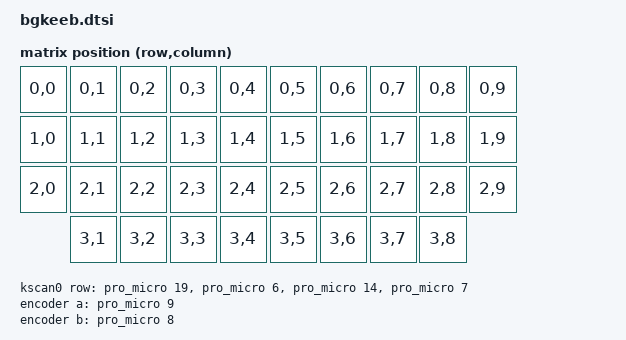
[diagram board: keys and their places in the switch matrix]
#include <dt-bindings/zmk/matrix_transform.h>


/ {
    chosen {
        zmk,kscan = &kscan0;
        zmk,matrix_transform = &default_transform;
    };

    default_transform: keymap_transform_0 {
        compatible = "zmk,matrix-transform";
        columns = <10>;
        rows = <8>;

        map = <
            RC(0,0)     RC(0,1)     RC(0,2)     RC(0,3)     RC(0,4)         RC(0,5)     RC(0,6)     RC(0,7)     RC(0,8)     RC(0,9)
            RC(1,0)     RC(1,1)     RC(1,2)     RC(1,3)     RC(1,4)         RC(1,5)     RC(1,6)     RC(1,7)     RC(1,8)     RC(1,9)
            RC(2,0)     RC(2,1)     RC(2,2)     RC(2,3)     RC(2,4)         RC(2,5)     RC(2,6)     RC(2,7)     RC(2,8)     RC(2,9)
                        RC(3,1)     RC(3,2)     RC(3,3)     RC(3,4)         RC(3,5)     RC(3,6)     RC(3,7)     RC(3,8)     
        >;
    };

    kscan0: kscan {
        compatible = "zmk,kscan-gpio-matrix";
        label = "KSCAN";

        diode-direction = "col2row";
        // #define MATRIX_ROW_PINS { F6, D7, B3, E6 }     == { 19, 6, 14, 7 }
        // #define MATRIX_COL_PINS { F4, D4, F5, B1, B2 } == { 21, 4, 20, 15, 16 }
        row-gpios
            = <&pro_micro 19 (GPIO_ACTIVE_HIGH | GPIO_PULL_DOWN)> 
            , <&pro_micro 6  (GPIO_ACTIVE_HIGH | GPIO_PULL_DOWN)> 
            , <&pro_micro 14 (GPIO_ACTIVE_HIGH | GPIO_PULL_DOWN)> 
            , <&pro_micro 7  (GPIO_ACTIVE_HIGH | GPIO_PULL_DOWN)> 
            ;
    };

    // #define ENCODERS_PAD_A {B5} {9} {A9}
    // #define ENCODERS_PAD_B {B4} {8} {A8}

    // #define ENCODER_RESOLUTION 2 ------- used default zmk values instead
    encoder: encoder {
        compatible = "alps,ec11";
        label = "encoder";
        a-gpios = <&pro_micro 9 (GPIO_ACTIVE_HIGH | GPIO_PULL_UP)>;
        b-gpios = <&pro_micro 8 (GPIO_ACTIVE_HIGH | GPIO_PULL_UP)>;
        steps = <80>;
        status = "okay";
    };

    sensors: sensors {
        compatible = "zmk,keymap-sensors";
        sensors = <&encoder>;
        triggers-per-rotation = <20>;
    };
};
